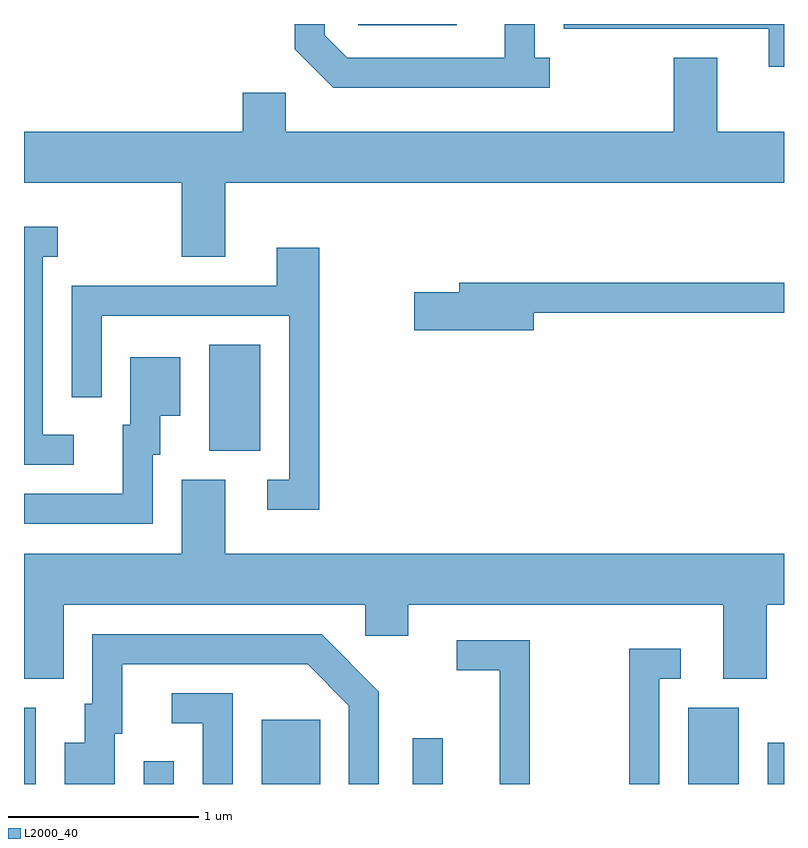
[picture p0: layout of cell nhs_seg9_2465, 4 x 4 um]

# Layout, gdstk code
import gdstk
lib = gdstk.Library(unit=1e-6, precision=1e-09)
def R(c, l, rs):  # rectangles x0, y0, x1, y1
    for r in rs: c.add(gdstk.rectangle(r[:2], r[2:], *l))
def P(c, l, *ps):  # polygons
    for p in ps: c.add(gdstk.Polygon(p, *l))
L2000_40 = (2000, 40)

nhs_seg9_2465 = lib.new_cell('nhs_seg9_2465')
R(nhs_seg9_2465, L2000_40, [(257.611,1986.432,257.674,1986.834), (258.241,1986.432,258.399,1986.553), (258.861,1986.432,259.169,1986.769), (259.656,1986.432,259.814,1986.673), (261.106,1986.432,261.374,1986.834), (261.526,1986.432,261.611,1986.649), (258.586,1988.186,258.854,1988.744), (259.371,1990.426,259.888,1990.432), (258.576,1990.431,258.884,1990.432)])
P(nhs_seg9_2465, L2000_40, [(261.611,1990.432),(260.451,1990.432),(260.451,1990.406),(261.531,1990.406),(261.531,1990.206),(261.611,1990.206)],
  [(260.378,1990.254),(260.299,1990.254),(260.299,1990.432),(260.141,1990.432),(260.141,1990.254),(259.312,1990.254),(259.194,1990.372),(259.194,1990.432),(259.036,1990.432),(259.036,1990.299),(259.239,1990.096),(260.378,1990.096)],
  [(258.669,1989.596),(261.611,1989.596),(261.611,1989.864),(261.259,1989.864),(261.259,1990.254),(261.031,1990.254),(261.031,1989.864),(258.989,1989.864),(258.989,1990.069),(258.761,1990.069),(258.761,1989.864),(257.611,1989.864),(257.611,1989.596),(258.441,1989.596),(258.441,1989.206),(258.669,1989.206)],
  [(257.873,1988.269),(257.709,1988.269),(257.709,1989.206),(257.788,1989.206),(257.788,1989.364),(257.611,1989.364),(257.611,1988.111),(257.873,1988.111)],
  [(259.164,1989.254),(258.941,1989.254),(258.941,1989.054),(257.861,1989.054),(257.861,1988.468),(258.019,1988.468),(258.019,1988.896),(259.006,1988.896),(259.006,1988.034),(258.892,1988.034),(258.892,1987.876),(259.164,1987.876)],
  [(260.294,1988.911),(261.611,1988.911),(261.611,1989.069),(259.901,1989.069),(259.901,1989.019),(259.666,1989.019),(259.666,1988.821),(260.294,1988.821)],
  [(258.289,1988.166),(258.329,1988.166),(258.329,1988.371),(258.434,1988.371),(258.434,1988.679),(258.171,1988.679),(258.171,1988.324),(258.131,1988.324),(258.131,1987.959),(257.611,1987.959),(257.611,1987.801),(258.289,1987.801)],
  [(257.819,1987.376),(259.406,1987.376),(259.406,1987.211),(259.634,1987.211),(259.634,1987.376),(261.291,1987.376),(261.291,1986.986),(261.519,1986.986),(261.519,1987.376),(261.611,1987.376),(261.611,1987.644),(258.669,1987.644),(258.669,1988.034),(258.441,1988.034),(258.441,1987.644),(257.611,1987.644),(257.611,1986.986),(257.819,1986.986)],
  [(258.089,1986.696),(258.129,1986.696),(258.129,1987.061),(259.104,1987.061),(259.321,1986.844),(259.321,1986.432),(259.479,1986.432),(259.479,1986.917),(259.177,1987.219),(257.971,1987.219),(257.971,1986.854),(257.931,1986.854),(257.931,1986.649),(257.826,1986.649),(257.826,1986.432),(258.089,1986.432)],
  [(260.274,1987.189),(259.888,1987.189),(259.888,1987.031),(260.116,1987.031),(260.116,1986.432),(260.274,1986.432)],
  [(260.954,1986.986),(261.068,1986.986),(261.068,1987.144),(260.796,1987.144),(260.796,1986.432),(260.954,1986.432)],
  [(258.709,1986.909),(258.388,1986.909),(258.388,1986.751),(258.551,1986.751),(258.551,1986.432),(258.709,1986.432)])

lib.write_gds('nhs_seg9_2465.gds')
